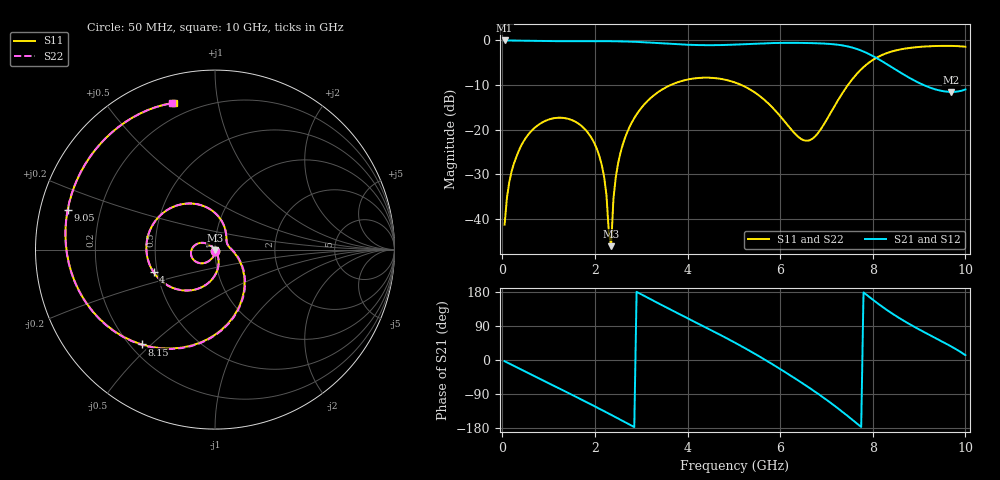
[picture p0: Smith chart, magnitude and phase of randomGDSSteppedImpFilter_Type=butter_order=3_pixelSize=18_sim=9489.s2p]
! freq	dB(S11)	phase(S11)	dB(S12)	phase(S12)
!  dB(S21)	phase(S21)	dB(S22)	phase(S22)
!S-par simulation data
#  GHz  S  DB  R 50
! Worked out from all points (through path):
!   200 points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, 50 MHz to 10 GHz, reference 50 ohm
!   highest |S21| = 0.00 dB at 50 MHz (marker M1); lowest = -11.5 dB at 9.7 GHz (marker M2)
!   group delay of S21, straight-line fit = 199 ps
!   lowest |S11| = -46.1 dB at 2.35 GHz (marker M3), VSWR 1.01, Z = 50.1 - j0.48 ohm
!   |S11| at or under -10 dB: start of sweep to 3.633 GHz; 5.167 GHz to 7.463 GHz (2.296 GHz wide, 36.4 % of centre)
!   |S22| runs from -46.1 to -1.2 dB; largest |S21 - S12| = 0
!   S11 on the Smith chart (normalised r, x): 50 MHz: 1.00, -0.02; 4 GHz: 0.48, -0.14; 8.15 GHz: 0.24, -0.47; 9.05 GHz: 0.08, +0.13; 10 GHz: 0.13, +0.75
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0.05  -41.24 -92.4  -0.00 -3.1  -0.00 -3.1  -41.25 -92.4
0.2  -29.35 -101.1  -0.03 -12.4  -0.03 -12.4  -29.34 -101.1
0.55  -21.23 -124.4  -0.08 -33.8  -0.08 -33.8  -21.23 -124.4
1.15  -17.37 -160.7  -0.17 -70.3  -0.17 -70.3  -17.37 -160.8
1.75  -19.52 162.9  -0.18 -106.9  -0.18 -106.9  -19.52 162.7
2.15  -28.00 139.1  -0.17 -131.9  -0.17 -131.9  -28.00 138.9
2.35  -46.08 -74.5  -0.18 -144.7  -0.18 -144.7  -46.14 -73.9
2.4  -35.46 -63.3  -0.18 -147.9  -0.18 -147.9  -35.47 -63.2
2.45  -30.69 -64.5  -0.19 -151.1  -0.19 -151.1  -30.69 -64.5
2.6  -23.37 -72.6  -0.22 -160.8  -0.22 -160.8  -23.37 -72.7
3.4  -11.33 -122.8  -0.61 147.7  -0.61 147.7  -11.33 -123.0
4  -8.76 -159.8  -0.96 110.3  -0.96 110.3  -8.76 -159.9
5.05  -9.51 135.1  -0.92 44.0  -0.92 44.0  -9.51 134.9
5.9  -15.77 76.6  -0.57 -16.2  -0.57 -16.2  -15.76 76.6
6.7  -22.00 11.6  -0.60 -79.2  -0.60 -79.2  -21.98 13.2
7.1  -16.04 -26.7  -0.81 -113.9  -0.81 -113.9  -16.04 -25.5
7.5  -9.47 -65.4  -1.44 -151.9  -1.44 -151.9  -9.47 -64.6
8.15  -3.50 -127.8  -4.35 145.5  -4.35 145.5  -3.50 -127.3
8.35  -2.67 -144.8  -5.61 128.3  -5.61 128.3  -2.67 -144.3
9.05  -1.41 165.0  -9.76 77.4  -9.76 77.4  -1.41 165.5
9.7  -1.22 125.0  -11.53 35.3  -11.53 35.3  -1.22 125.5
10  -1.42 105.7  -10.98 12.9  -10.98 12.9  -1.41 106.3
